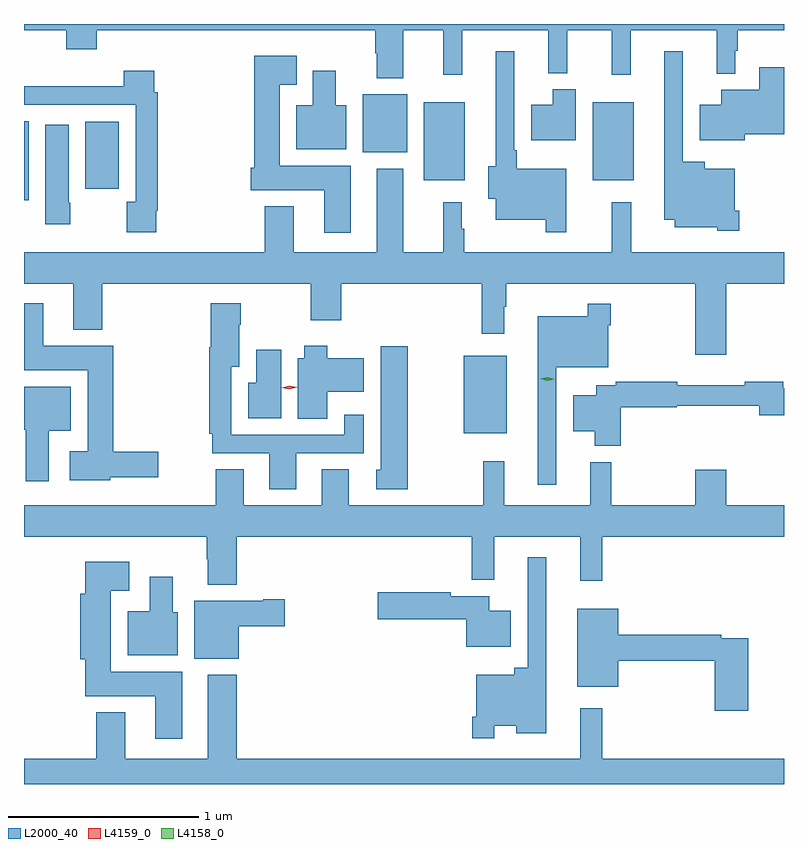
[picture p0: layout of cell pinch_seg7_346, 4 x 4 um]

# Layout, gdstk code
import gdstk
lib = gdstk.Library(unit=1e-6, precision=1e-09)
def R(c, l, rs):  # rectangles x0, y0, x1, y1
    for r in rs: c.add(gdstk.rectangle(r[:2], r[2:], *l))
def P(c, l, *ps):  # polygons
    for p in ps: c.add(gdstk.Polygon(p, *l))
L2000_40 = (2000, 40)
L4158_0 = (4158, 0)
L4159_0 = (4159, 0)

pinch_seg7_346 = lib.new_cell('pinch_seg7_346')
R(pinch_seg7_346, L2000_40, [(463.49,1003.823,463.717,1004.233), (461.175,1005.05,461.2,1005.467), (463.28,1005.155,463.495,1005.565), (464.168,1005.155,464.383,1005.565), (462.959,1005.302,463.192,1005.607)])
P(pinch_seg7_346, L2000_40, [(461.175,1005.944),(461.398,1005.944),(461.398,1005.845),(461.558,1005.845),(461.558,1005.944),(463.024,1005.944),(463.024,1005.824),(463.031,1005.824),(463.031,1005.692),(463.171,1005.692),(463.171,1005.944),(463.382,1005.944),(463.382,1005.711),(463.481,1005.711),(463.481,1005.944),(463.934,1005.944),(463.934,1005.719),(464.034,1005.719),(464.034,1005.944),(464.269,1005.944),(464.269,1005.711),(464.369,1005.711),(464.369,1005.944),(464.822,1005.944),(464.822,1005.716),(464.919,1005.716),(464.919,1005.838),(464.932,1005.838),(464.932,1005.944),(465.175,1005.944),(465.175,1005.978),(461.175,1005.978)],
  [(464.939,1004.995),(464.917,1004.995),(464.917,1005.217),(464.758,1005.217),(464.758,1005.253),(464.643,1005.253),(464.643,1005.835),(464.546,1005.835),(464.546,1004.948),(464.6,1004.948),(464.6,1004.909),(464.823,1004.909),(464.823,1004.891),(464.939,1004.891)],
  [(464.028,1005.217),(463.768,1005.217),(463.768,1005.313),(463.755,1005.313),(463.755,1005.835),(463.658,1005.835),(463.658,1005.23),(463.619,1005.23),(463.619,1005.059),(463.658,1005.059),(463.658,1004.948),(463.92,1004.948),(463.92,1004.883),(464.028,1004.883)],
  [(462.895,1005.232),(462.52,1005.232),(462.52,1005.659),(462.61,1005.659),(462.61,1005.811),(462.386,1005.811),(462.386,1005.222),(462.368,1005.222),(462.368,1005.104),(462.755,1005.104),(462.755,1004.88),(462.895,1004.88)],
  [(464.968,1005.398),(465.175,1005.398),(465.175,1005.751),(465.044,1005.751),(465.044,1005.631),(464.846,1005.631),(464.846,1005.553),(464.732,1005.553),(464.732,1005.365),(464.968,1005.365)],
  [(461.872,1004.995),(461.879,1004.995),(461.879,1005.62),(461.86,1005.62),(461.86,1005.733),(461.699,1005.733),(461.699,1005.65),(461.175,1005.65),(461.175,1005.552),(461.763,1005.552),(461.763,1005.043),(461.717,1005.043),(461.717,1004.883),(461.872,1004.883)],
  [(462.871,1005.55),(462.817,1005.55),(462.817,1005.733),(462.695,1005.733),(462.695,1005.55),(462.608,1005.55),(462.608,1005.32),(462.871,1005.32)],
  [(464.08,1005.634),(463.958,1005.634),(463.958,1005.553),(463.844,1005.553),(463.844,1005.365),(464.08,1005.365)],
  [(461.673,1005.214),(461.674,1005.214),(461.674,1005.463),(461.498,1005.463),(461.498,1005.111),(461.673,1005.111)],
  [(461.418,1005.037),(461.41,1005.037),(461.41,1005.448),(461.288,1005.448),(461.288,1004.925),(461.418,1004.925)],
  [(464.872,1004.612),(465.175,1004.612),(465.175,1004.776),(464.37,1004.776),(464.37,1005.04),(464.269,1005.04),(464.269,1004.776),(463.492,1004.776),(463.492,1004.9),(463.48,1004.9),(463.48,1005.04),(463.382,1005.04),(463.382,1004.776),(463.171,1004.776),(463.171,1005.217),(463.031,1005.217),(463.031,1004.776),(462.595,1004.776),(462.595,1005.019),(462.443,1005.019),(462.443,1004.776),(461.175,1004.776),(461.175,1004.612),(461.435,1004.612),(461.435,1004.369),(461.588,1004.369),(461.588,1004.612),(462.685,1004.612),(462.685,1004.418),(462.845,1004.418),(462.845,1004.612),(463.585,1004.612),(463.585,1004.349),(463.702,1004.349),(463.702,1004.489),(463.714,1004.489),(463.714,1004.612),(464.708,1004.612),(464.708,1004.238),(464.872,1004.238)],
  [(462.607,1003.719),(462.964,1003.719),(462.964,1003.921),(462.86,1003.921),(462.86,1003.815),(462.267,1003.815),(462.267,1004.174),(462.307,1004.174),(462.307,1004.396),(462.315,1004.396),(462.315,1004.509),(462.158,1004.509),(462.158,1004.278),(462.151,1004.278),(462.151,1003.822),(462.166,1003.822),(462.166,1003.719),(462.467,1003.719),(462.467,1003.53),(462.607,1003.53)],
  [(461.628,1003.592),(461.881,1003.592),(461.881,1003.727),(461.645,1003.727),(461.645,1004.284),(461.275,1004.284),(461.275,1004.509),(461.175,1004.509),(461.175,1004.156),(461.51,1004.156),(461.51,1003.729),(461.415,1003.729),(461.415,1003.577),(461.628,1003.577)],
  [(463.977,1004.171),(464.25,1004.171),(464.25,1004.393),(464.263,1004.393),(464.263,1004.506),(464.142,1004.506),(464.142,1004.44),(463.88,1004.44),(463.88,1003.554),(463.977,1003.554)],
  [(462.772,1004.042),(462.964,1004.042),(462.964,1004.218),(462.772,1004.218),(462.772,1004.284),(462.65,1004.284),(462.65,1004.218),(462.617,1004.218),(462.617,1003.9),(462.772,1003.9)],
  [(463.194,1004.281),(463.052,1004.281),(463.052,1003.632),(463.028,1003.632),(463.028,1003.53),(463.194,1003.53)],
  [(462.529,1004.263),(462.398,1004.263),(462.398,1004.089),(462.356,1004.089),(462.356,1003.904),(462.529,1003.904)],
  [(464.315,1003.96),(464.61,1003.96),(464.61,1003.968),(465.044,1003.968),(465.044,1003.918),(465.175,1003.918),(465.175,1004.06),(465.172,1004.06),(465.172,1004.096),(464.968,1004.096),(464.968,1004.077),(464.612,1004.077),(464.612,1004.096),(464.29,1004.096),(464.29,1004.076),(464.186,1004.076),(464.186,1004.023),(464.066,1004.023),(464.066,1003.835),(464.18,1003.835),(464.18,1003.757),(464.315,1003.757)],
  [(461.305,1003.838),(461.422,1003.838),(461.422,1004.068),(461.175,1004.068),(461.175,1003.842),(461.183,1003.842),(461.183,1003.572),(461.305,1003.572)],
  [(465.175,1003.444),(464.872,1003.444),(464.872,1003.633),(464.708,1003.633),(464.708,1003.444),(464.266,1003.444),(464.266,1003.672),(464.156,1003.672),(464.156,1003.444),(463.703,1003.444),(463.703,1003.678),(463.593,1003.678),(463.593,1003.444),(462.883,1003.444),(462.883,1003.634),(462.743,1003.634),(462.743,1003.444),(462.331,1003.444),(462.331,1003.634),(462.184,1003.634),(462.184,1003.444),(461.175,1003.444),(461.175,1003.28),(462.136,1003.28),(462.136,1003.16),(462.143,1003.16),(462.143,1003.028),(462.296,1003.028),(462.296,1003.28),(463.531,1003.28),(463.531,1003.052),(463.649,1003.052),(463.649,1003.28),(464.102,1003.28),(464.102,1003.047),(464.219,1003.047),(464.219,1003.28),(465.175,1003.28)],
  [(463.65,1002.284),(463.766,1002.284),(463.766,1002.245),(463.924,1002.245),(463.924,1003.171),(463.827,1003.171),(463.827,1002.589),(463.754,1002.589),(463.754,1002.553),(463.554,1002.553),(463.554,1002.331),(463.534,1002.331),(463.534,1002.219),(463.65,1002.219)],
  [(462.007,1002.568),(461.632,1002.568),(461.632,1002.995),(461.728,1002.995),(461.728,1003.147),(461.498,1003.147),(461.498,1002.979),(461.471,1002.979),(461.471,1002.635),(461.498,1002.635),(461.498,1002.44),(461.867,1002.44),(461.867,1002.216),(462.007,1002.216)],
  [(461.983,1002.882),(461.959,1002.882),(461.959,1003.069),(461.837,1003.069),(461.837,1002.886),(461.72,1002.886),(461.72,1002.656),(461.983,1002.656)],
  [(463.738,1002.889),(463.624,1002.889),(463.624,1002.967),(463.422,1002.967),(463.422,1002.987),(463.038,1002.987),(463.038,1002.845),(463.502,1002.845),(463.502,1002.701),(463.738,1002.701)],
  [(462.304,1002.809),(462.547,1002.809),(462.547,1002.951),(462.434,1002.951),(462.434,1002.943),(462.071,1002.943),(462.071,1002.638),(462.304,1002.638)],
  [(464.988,1002.744),(464.846,1002.744),(464.846,1002.764),(464.302,1002.764),(464.302,1002.901),(464.087,1002.901),(464.087,1002.491),(464.302,1002.491),(464.302,1002.628),(464.81,1002.628),(464.81,1002.363),(464.988,1002.363)],
  [(462.296,1002.553),(462.143,1002.553),(462.143,1002.112),(461.707,1002.112),(461.707,1002.355),(461.555,1002.355),(461.555,1002.112),(461.175,1002.112),(461.175,1001.978),(465.175,1001.978),(465.175,1002.112),(464.219,1002.112),(464.219,1002.376),(464.102,1002.376),(464.102,1002.112),(462.296,1002.112)])
P(pinch_seg7_346, L4158_0, [(463.93,1004.1),(463.895,1004.111),(463.895,1004.111),(463.895,1004.112),(463.931,1004.12),(463.967,1004.108),(463.967,1004.108),(463.967,1004.108)])
P(pinch_seg7_346, L4159_0, [(462.572,1004.055),(462.532,1004.064),(462.532,1004.064),(462.532,1004.064),(462.572,1004.075),(462.612,1004.065),(462.612,1004.065),(462.612,1004.065)])

lib.write_gds('pinch_seg7_346.gds')
